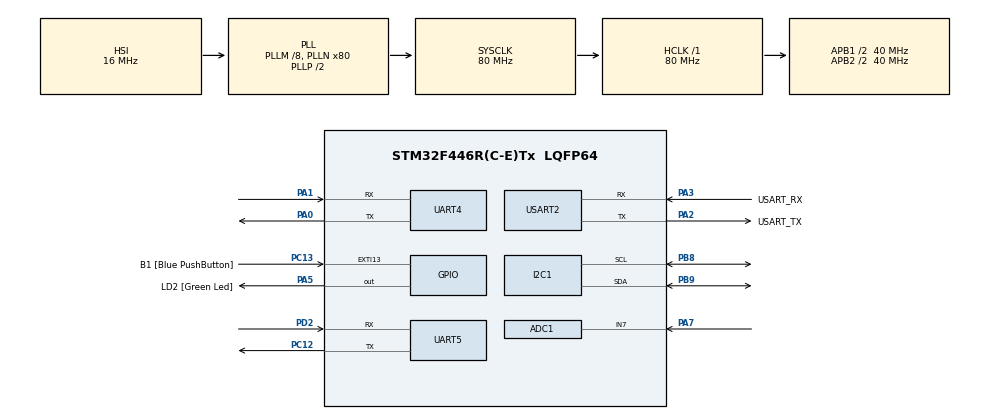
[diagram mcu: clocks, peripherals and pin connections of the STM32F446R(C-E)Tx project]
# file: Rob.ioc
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ADC1.Channel-0\#ChannelRegularConversion=ADC_CHANNEL_7
ADC1.NbrOfConversionFlag=1
ADC1.Rank-0\#ChannelRegularConversion=1
ADC1.SamplingTime-0\#ChannelRegularConversion=ADC_SAMPLETIME_3CYCLES
ADC1.master=1
Mcu.Family=STM32F4
Mcu.Name=STM32F446R(C-E)Tx
Mcu.Package=LQFP64
NVIC.PriorityGroup=NVIC_PRIORITYGROUP_0
NVIC.USART2_IRQn=true\:0\:0\:false\:false\:true\:true\:true\:true
PA0-WKUP.Mode=Asynchronous
PA0-WKUP.Signal=UART4_TX
PA1.Mode=Asynchronous
PA1.Signal=UART4_RX
PA13.GPIO_Label=TMS
PA13.Mode=Serial_Wire
PA13.Signal=SYS_JTMS-SWDIO
PA14.GPIO_Label=TCK
PA14.Mode=Serial_Wire
PA14.Signal=SYS_JTCK-SWCLK
PA2.GPIO_Label=USART_TX
PA2.Mode=Asynchronous
PA2.Signal=USART2_TX
PA3.GPIO_Label=USART_RX
PA3.Mode=Asynchronous
PA3.Signal=USART2_RX
PA5.GPIO_Label=LD2 [Green Led]
PA5.Signal=GPIO_Output
PA7.Signal=ADCx_IN7
PB3.GPIO_Label=SWO
PB3.Signal=SYS_JTDO-SWO
PB8.Mode=I2C
PB8.Signal=I2C1_SCL
PB9.Mode=I2C
PB9.Signal=I2C1_SDA
PC12.Mode=Asynchronous
PC12.Signal=UART5_TX
PC13.GPIO_Label=B1 [Blue PushButton]
PC13.GPIO_ModeDefaultEXTI=GPIO_MODE_IT_FALLING
PC13.Signal=GPXTI13
PC14-OSC32_IN.Mode=LSE-External-Oscillator
PC14-OSC32_IN.Signal=RCC_OSC32_IN
PC15-OSC32_OUT.Mode=LSE-External-Oscillator
PC15-OSC32_OUT.Signal=RCC_OSC32_OUT
PD2.Mode=Asynchronous
PD2.Signal=UART5_RX
PH0-OSC_IN.Mode=HSE-External-Oscillator
PH0-OSC_IN.Signal=RCC_OSC_IN
PH1-OSC_OUT.Mode=HSE-External-Oscillator
PH1-OSC_OUT.Signal=RCC_OSC_OUT
ProjectManager.HeapSize=0x200
ProjectManager.StackSize=0x400
ProjectManager.TargetToolchain=STM32CubeIDE
RCC.48MHZClocksFreq_Value=84000000
RCC.AHBFreq_Value=80000000
RCC.APB1CLKDivider=RCC_HCLK_DIV2
RCC.APB1Freq_Value=40000000
RCC.APB1TimFreq_Value=80000000
RCC.APB2CLKDivider=RCC_HCLK_DIV2
RCC.APB2Freq_Value=40000000
RCC.APB2TimCLKDivider=2
RCC.APB2TimFreq_Value=80000000
RCC.CortexFreq_Value=80000000
RCC.FLatency-AdvancedSettings=FLASH_LATENCY_2
RCC.HCLKFreq_Value=80000000
RCC.HSE_VALUE=8000000
RCC.HSI_VALUE=16000000
RCC.PLLM=8
RCC.PLLN=80
RCC.SYSCLKFreq_VALUE=80000000
RCC.SYSCLKSource=RCC_SYSCLKSOURCE_PLLCLK
RCC.USBFreq_Value=80000000
RCC.VCOOutputFreq_Value=160000000
SH.ADCx_IN7.0=ADC1_IN7,IN7
TIM2.Period=10000-1
TIM2.Prescaler=80-1
UART4.VirtualMode=Asynchronous
UART5.VirtualMode=Asynchronous
USART2.VirtualMode=VM_ASYNC
VP_TIM2_VS_ClockSourceINT.Mode=Internal
board=NUCLEO-F446RE

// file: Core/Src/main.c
/* USER CODE BEGIN Header */
/**
  ******************************************************************************
  * @file           : main.c
  * @brief          : Main program body
  ******************************************************************************
  * @attention
  *
  * Copyright (c) 2024 STMicroelectronics.
  * All rights reserved.
  *
  * This software is licensed under terms that can be found in the LICENSE file
  * in the root directory of this software component.
  * If no LICENSE file comes with this software, it is provided AS-IS.
  *
  ******************************************************************************
  */
/* USER CODE END Header */
#include "main.h"

ADC_HandleTypeDef hadc1;

I2C_HandleTypeDef hi2c1;

TIM_HandleTypeDef htim2;

UART_HandleTypeDef huart4;
UART_HandleTypeDef huart5;
UART_HandleTypeDef huart2;

void SystemClock_Config(void);
static void MX_GPIO_Init(void);
static void MX_USART2_UART_Init(void);
static void MX_TIM2_Init(void);
static void MX_ADC1_Init(void);
static void MX_I2C1_Init(void);
static void MX_UART4_Init(void);
static void MX_UART5_Init(void);

/* USER CODE BEGIN 0 */
/* USER CODE BEGIN 0 */
#define PCA9685_ADDRESS 0x80
// Datasheet link --> https://cdn-shop.adafruit.com/datasheets/PCA9685.pdf
#define PCA9685_MODE1         0x0         // as in the datasheet page no 10/52
#define PCA9685_PRE_SCALE     0xFE        // as in the datasheet page no 13/52
#define PCA9685_LED0_ON_L     0x6         // as in the datasheet page no 10/52
#define PCA9685_MODE1_SLEEP_BIT      4    // as in the datasheet page no 14/52
#define PCA9685_MODE1_AI_BIT         5    // as in the datasheet page no 14/52
#define PCA9685_MODE1_RESTART_BIT    7    // as in the datasheet page no 14/52

/* USER CODE END 0 */

int main(void)
{

  /* MCU Configuration--------------------------------------------------------*/

  /* Reset of all peripherals, Initializes the Flash interface and the Systick. */
  HAL_Init();

  /* Configure the system clock */
  SystemClock_Config();

  /* Initialize all configured peripherals */
  MX_GPIO_Init();
  MX_USART2_UART_Init();
  MX_TIM2_Init();
  MX_ADC1_Init();
  MX_I2C1_Init();
  MX_UART4_Init();
  MX_UART5_Init();
  /* USER CODE BEGIN 2 */

  void PCA9685_SetBit(uint8_t Register, uint8_t Bit, uint8_t Value)
  {
    uint8_t readValue;
    // Read all 8 bits and set only one bit to 0/1 and write all 8 bits back
    HAL_I2C_Mem_Read(&hi2c1, PCA9685_ADDRESS, Register, 1, &readValue, 1, 10);
    if (Value == 0) readValue &= ~(1 << Bit);
    else readValue |= (1 << Bit);
    HAL_I2C_Mem_Write(&hi2c1, PCA9685_ADDRESS, Register, 1, &readValue, 1, 10);
    HAL_Delay(1);
  }
  void PCA9685_SetPWMFrequency(uint16_t frequency)
  {
    uint8_t prescale;
    if(frequency >= 1526) prescale = 0x03;
    else if(frequency <= 24) prescale = 0xFF;
    //  internal 25 MHz oscillator as in the datasheet page no 1/52
    else prescale = 25000000 / (4096 * frequency);
    // prescale changes 3 to 255 for 1526Hz to 24Hz as in the datasheet page no 1/52
    PCA9685_SetBit(PCA9685_MODE1, PCA9685_MODE1_SLEEP_BIT, 1);
    HAL_I2C_Mem_Write(&hi2c1, PCA9685_ADDRESS, PCA9685_PRE_SCALE, 1, &prescale, 1, 10);
    PCA9685_SetBit(PCA9685_MODE1, PCA9685_MODE1_SLEEP_BIT, 0);
    PCA9685_SetBit(PCA9685_MODE1, PCA9685_MODE1_RESTART_BIT, 1);
  }

  void PCA9685_Init(uint16_t frequency)
  {
    PCA9685_SetPWMFrequency(frequency); // 50 Hz for servo
    PCA9685_SetBit(PCA9685_MODE1, PCA9685_MODE1_AI_BIT, 1);
  }
  void PCA9685_SetPWM(uint8_t Channel, uint16_t OnTime, uint16_t OffTime)
  {
    uint8_t registerAddress;
    uint8_t pwm[4];
    registerAddress = PCA9685_LED0_ON_L + (4 * Channel);
    // See example 1 in the datasheet page no 18/52
    pwm[0] = OnTime & 0xFF;
    pwm[1] = OnTime>>8;
    pwm[2] = OffTime & 0xFF;
    pwm[3] = OffTime>>8;
    HAL_I2C_Mem_Write(&hi2c1, PCA9685_ADDRESS, registerAddress, 1, pwm, 4, 10);
  }

  void PCA9685_SetServo(uint8_t Channel, float Val, int isAngle)
  {
    float Value;
    int thr;
    if (isAngle){
    	thr = 180;
    } else {
    	thr = 3000;
    }
    // 50 Hz servo then 4095 Value --> 20 milliseconds
    // 0 degree --> 0.5 ms(102.4 Value) and 180 degree --> 2.5 ms(511.9 Value)
    Value = (Val * (511.9 - 102.4) / thr) + 102.4;
    PCA9685_SetPWM(Channel, 0, (uint16_t)Value);
  }

  void PCA9685_StopServos(int * servos){
	  for (int i=0; i<sizeof(servos); i++){
		  PCA9685_SetServo(servos[i], 1600, 0);
	  }
  }
  void avancer(int * servos, int t_ms, int spd){
	  if (spd==0){
		  PCA9685_StopServos(servos);
	  }
	  int speed_lft = (spd<1500)?1600+spd:3100;
	  int speed_rgt = (spd<1500)?1600-spd:100;
	  PCA9685_SetServo(servos[0], speed_lft, 0);
	  PCA9685_SetServo(servos[1], speed_lft, 0);
	  PCA9685_SetServo(servos[2], speed_rgt, 0);
	  PCA9685_SetServo(servos[3], speed_rgt, 0);
	  HAL_Delay(t_ms);
	  PCA9685_StopServos(servos);
  }

  void reculer(int * servos, int t_ms, int spd){
	  if (spd==0){
		  PCA9685_StopServos(servos);
	  }
	  int speed_rgt = (spd<1500)?1600+spd:3100;
	  int speed_lft = (spd<1500)?1600-spd:100;
	  PCA9685_SetServo(servos[0], speed_lft, 0);
	  PCA9685_SetServo(servos[1], speed_lft, 0);
	  PCA9685_SetServo(servos[2], speed_rgt, 0);
	  PCA9685_SetServo(servos[3], speed_rgt, 0);
	  HAL_Delay(t_ms);
	  PCA9685_StopServos(servos);
  }

  void droite(int * servos, int t_ms, int spd){
	  if (spd==0){
		  PCA9685_StopServos(servos);
	  }
	  int speed_rgt = (spd<1500)?1600+spd:3100;
	  int speed_lft = speed_rgt;
	  PCA9685_SetServo(servos[0], speed_lft, 0);
	  PCA9685_SetServo(servos[1], speed_lft, 0);
	  PCA9685_SetServo(servos[2], speed_rgt, 0);
	  PCA9685_SetServo(servos[3], speed_rgt, 0);
	  HAL_Delay(t_ms);
	  PCA9685_StopServos(servos);
  }

  void gauche(int * servos, int t_ms, int spd){
	  if (spd==0){
		  PCA9685_StopServos(servos);
	  }
	  int speed_rgt = (spd<1500)?1600-spd:100;
	  int speed_lft = speed_rgt;
	  PCA9685_SetServo(servos[0], speed_lft, 0);
	  PCA9685_SetServo(servos[1], speed_lft, 0);
	  PCA9685_SetServo(servos[2], speed_rgt, 0);
	  PCA9685_SetServo(servos[3], speed_rgt, 0);
	  HAL_Delay(t_ms);
	  PCA9685_StopServos(servos);
  }

  PCA9685_Init(50);

  int servos[4] = {0,1,2,3};
  uint8_t RXdata[10];
  uint8_t angleY = 80;
  uint8_t angleZ = 80;

  /* USER CODE END 2 */

  /* Infinite loop */
  /* USER CODE BEGIN WHILE */

  // speed entre -1500 et 1500
  while (1)
  {

	    HAL_UART_Receive(&huart4, RXdata, 4, 100);
		HAL_UART_Transmit(&huart4, RXdata, 4, 100);
		HAL_UART_Transmit(&huart5, RXdata, 4, 100);

    /* USER CODE END WHILE */

  }
}

void SystemClock_Config(void)
{
  RCC_OscInitTypeDef RCC_OscInitStruct = {0};
  RCC_ClkInitTypeDef RCC_ClkInitStruct = {0};

  /** Configure the main internal regulator output voltage
  */
  __HAL_RCC_PWR_CLK_ENABLE();
  __HAL_PWR_VOLTAGESCALING_CONFIG(PWR_REGULATOR_VOLTAGE_SCALE3);

  /** Initializes the RCC Oscillators according to the specified parameters
  * in the RCC_OscInitTypeDef structure.
  */
  RCC_OscInitStruct.OscillatorType = RCC_OSCILLATORTYPE_HSI;
  RCC_OscInitStruct.HSIState = RCC_HSI_ON;
  RCC_OscInitStruct.HSICalibrationValue = RCC_HSICALIBRATION_DEFAULT;
  RCC_OscInitStruct.PLL.PLLState = RCC_PLL_ON;
  RCC_OscInitStruct.PLL.PLLSource = RCC_PLLSOURCE_HSI;
  RCC_OscInitStruct.PLL.PLLM = 8;
  RCC_OscInitStruct.PLL.PLLN = 80;
  RCC_OscInitStruct.PLL.PLLP = RCC_PLLP_DIV2;
  RCC_OscInitStruct.PLL.PLLQ = 2;
  RCC_OscInitStruct.PLL.PLLR = 2;
  if (HAL_RCC_OscConfig(&RCC_OscInitStruct) != HAL_OK)
  {
    Error_Handler();
  }

  /** Initializes the CPU, AHB and APB buses clocks
  */
  RCC_ClkInitStruct.ClockType = RCC_CLOCKTYPE_HCLK|RCC_CLOCKTYPE_SYSCLK
                              |RCC_CLOCKTYPE_PCLK1|RCC_CLOCKTYPE_PCLK2;
  RCC_ClkInitStruct.SYSCLKSource = RCC_SYSCLKSOURCE_PLLCLK;
  RCC_ClkInitStruct.AHBCLKDivider = RCC_SYSCLK_DIV1;
  RCC_ClkInitStruct.APB1CLKDivider = RCC_HCLK_DIV2;
  RCC_ClkInitStruct.APB2CLKDivider = RCC_HCLK_DIV2;

  if (HAL_RCC_ClockConfig(&RCC_ClkInitStruct, FLASH_LATENCY_2) != HAL_OK)
  {
    Error_Handler();
  }
}

static void MX_ADC1_Init(void)
{

  ADC_ChannelConfTypeDef sConfig = {0};

  /** Configure the global features of the ADC (Clock, Resolution, Data Alignment and number of conversion)
  */
  hadc1.Instance = ADC1;
  hadc1.Init.ClockPrescaler = ADC_CLOCK_SYNC_PCLK_DIV2;
  hadc1.Init.Resolution = ADC_RESOLUTION_12B;
  hadc1.Init.ScanConvMode = DISABLE;
  hadc1.Init.ContinuousConvMode = DISABLE;
  hadc1.Init.DiscontinuousConvMode = DISABLE;
  hadc1.Init.ExternalTrigConvEdge = ADC_EXTERNALTRIGCONVEDGE_NONE;
  hadc1.Init.ExternalTrigConv = ADC_SOFTWARE_START;
  hadc1.Init.DataAlign = ADC_DATAALIGN_RIGHT;
  hadc1.Init.NbrOfConversion = 1;
  hadc1.Init.DMAContinuousRequests = DISABLE;
  hadc1.Init.EOCSelection = ADC_EOC_SINGLE_CONV;
  if (HAL_ADC_Init(&hadc1) != HAL_OK)
  {
    Error_Handler();
  }

  /** Configure for the selected ADC regular channel its corresponding rank in the sequencer and its sample time.
  */
  sConfig.Channel = ADC_CHANNEL_7;
  sConfig.Rank = 1;
  sConfig.SamplingTime = ADC_SAMPLETIME_3CYCLES;
  if (HAL_ADC_ConfigChannel(&hadc1, &sConfig) != HAL_OK)
  {
    Error_Handler();
  }

}

static void MX_I2C1_Init(void)
{

  hi2c1.Instance = I2C1;
  hi2c1.Init.ClockSpeed = 100000;
  hi2c1.Init.DutyCycle = I2C_DUTYCYCLE_2;
  hi2c1.Init.OwnAddress1 = 0;
  hi2c1.Init.AddressingMode = I2C_ADDRESSINGMODE_7BIT;
  hi2c1.Init.DualAddressMode = I2C_DUALADDRESS_DISABLE;
  hi2c1.Init.OwnAddress2 = 0;
  hi2c1.Init.GeneralCallMode = I2C_GENERALCALL_DISABLE;
  hi2c1.Init.NoStretchMode = I2C_NOSTRETCH_DISABLE;
  if (HAL_I2C_Init(&hi2c1) != HAL_OK)
  {
    Error_Handler();
  }

}

static void MX_TIM2_Init(void)
{

  TIM_ClockConfigTypeDef sClockSourceConfig = {0};
  TIM_MasterConfigTypeDef sMasterConfig = {0};

  htim2.Instance = TIM2;
  htim2.Init.Prescaler = 80-1;
  htim2.Init.CounterMode = TIM_COUNTERMODE_UP;
  htim2.Init.Period = 10000-1;
  htim2.Init.ClockDivision = TIM_CLOCKDIVISION_DIV1;
  htim2.Init.AutoReloadPreload = TIM_AUTORELOAD_PRELOAD_DISABLE;
  if (HAL_TIM_Base_Init(&htim2) != HAL_OK)
  {
    Error_Handler();
  }
  sClockSourceConfig.ClockSource = TIM_CLOCKSOURCE_INTERNAL;
  if (HAL_TIM_ConfigClockSource(&htim2, &sClockSourceConfig) != HAL_OK)
  {
    Error_Handler();
  }
  sMasterConfig.MasterOutputTrigger = TIM_TRGO_RESET;
  sMasterConfig.MasterSlaveMode = TIM_MASTERSLAVEMODE_DISABLE;
  if (HAL_TIMEx_MasterConfigSynchronization(&htim2, &sMasterConfig) != HAL_OK)
  {
    Error_Handler();
  }

}

static void MX_UART4_Init(void)
{

  huart4.Instance = UART4;
  huart4.Init.BaudRate = 115200;
  huart4.Init.WordLength = UART_WORDLENGTH_8B;
  huart4.Init.StopBits = UART_STOPBITS_1;
  huart4.Init.Parity = UART_PARITY_NONE;
  huart4.Init.Mode = UART_MODE_TX_RX;
  huart4.Init.HwFlowCtl = UART_HWCONTROL_NONE;
  huart4.Init.OverSampling = UART_OVERSAMPLING_16;
  if (HAL_UART_Init(&huart4) != HAL_OK)
  {
    Error_Handler();
  }

}

static void MX_UART5_Init(void)
{

  huart5.Instance = UART5;
  huart5.Init.BaudRate = 115200;
  huart5.Init.WordLength = UART_WORDLENGTH_8B;
  huart5.Init.StopBits = UART_STOPBITS_1;
  huart5.Init.Parity = UART_PARITY_NONE;
  huart5.Init.Mode = UART_MODE_TX_RX;
  huart5.Init.HwFlowCtl = UART_HWCONTROL_NONE;
  huart5.Init.OverSampling = UART_OVERSAMPLING_16;
  if (HAL_UART_Init(&huart5) != HAL_OK)
  {
    Error_Handler();
  }

}

static void MX_USART2_UART_Init(void)
{

  huart2.Instance = USART2;
  huart2.Init.BaudRate = 115200;
  huart2.Init.WordLength = UART_WORDLENGTH_8B;
  huart2.Init.StopBits = UART_STOPBITS_1;
  huart2.Init.Parity = UART_PARITY_NONE;
  huart2.Init.Mode = UART_MODE_TX_RX;
  huart2.Init.HwFlowCtl = UART_HWCONTROL_NONE;
  huart2.Init.OverSampling = UART_OVERSAMPLING_16;
  if (HAL_UART_Init(&huart2) != HAL_OK)
  {
    Error_Handler();
  }

}

static void MX_GPIO_Init(void)
{
  GPIO_InitTypeDef GPIO_InitStruct = {0};

  /* GPIO Ports Clock Enable */
  __HAL_RCC_GPIOC_CLK_ENABLE();
  __HAL_RCC_GPIOH_CLK_ENABLE();
  __HAL_RCC_GPIOA_CLK_ENABLE();
  __HAL_RCC_GPIOD_CLK_ENABLE();
  __HAL_RCC_GPIOB_CLK_ENABLE();

  /*Configure GPIO pin Output Level */
  HAL_GPIO_WritePin(LD2_GPIO_Port, LD2_Pin, GPIO_PIN_RESET);

  /*Configure GPIO pin : B1_Pin */
  GPIO_InitStruct.Pin = B1_Pin;
  GPIO_InitStruct.Mode = GPIO_MODE_IT_FALLING;
  GPIO_InitStruct.Pull = GPIO_NOPULL;
  HAL_GPIO_Init(B1_GPIO_Port, &GPIO_InitStruct);

  /*Configure GPIO pin : LD2_Pin */
  GPIO_InitStruct.Pin = LD2_Pin;
  GPIO_InitStruct.Mode = GPIO_MODE_OUTPUT_PP;
  GPIO_InitStruct.Pull = GPIO_NOPULL;
  GPIO_InitStruct.Speed = GPIO_SPEED_FREQ_LOW;
  HAL_GPIO_Init(LD2_GPIO_Port, &GPIO_InitStruct);

}

void Error_Handler(void)
{
  __disable_irq();
  while (1)
  {
  }
}
